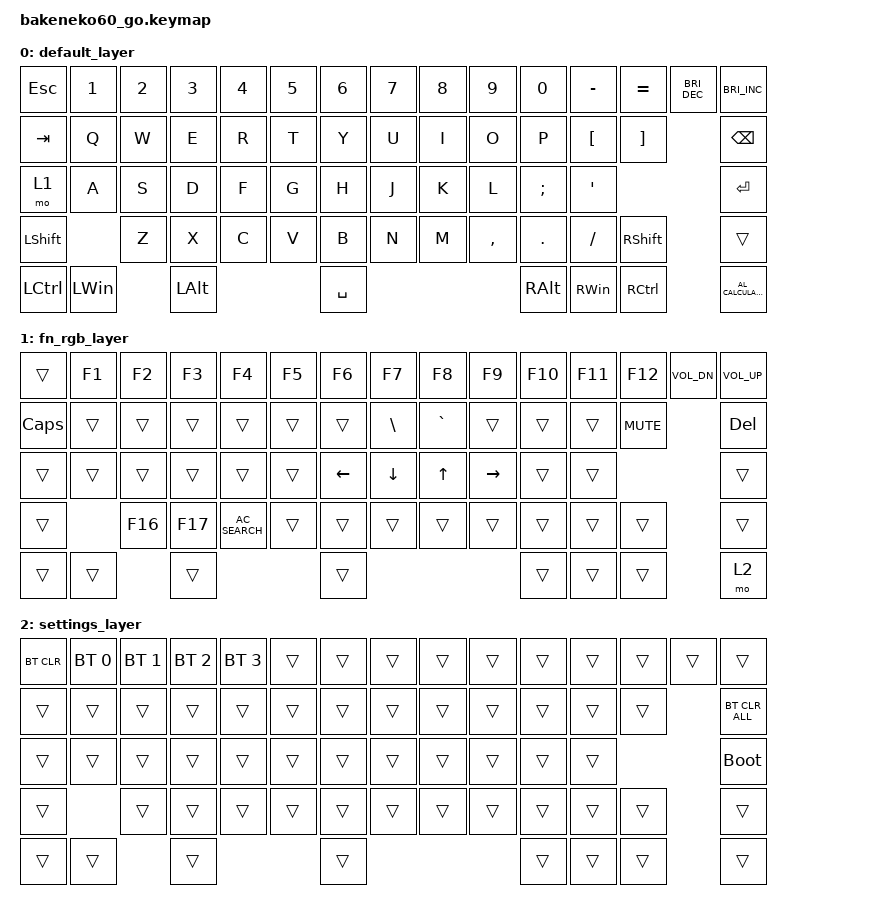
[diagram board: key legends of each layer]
/*
 * Copyright (c) 2023 Andrew Kannan
 *
 * SPDX-License-Identifier: MIT
 */

#include <behaviors.dtsi>
#include <dt-bindings/zmk/bt.h>
#include <dt-bindings/zmk/keys.h>

/ {
    keymap {
        compatible = "zmk,keymap";

        default_layer {
            // ------------------------------------------------------------------------------------------
            // | ESC |  1  |  2  |  3  |  4  |  5  |  6  |  7  |  8  |  9  |  0  |  -  |  =  | BKSP|BKSP|
            // | TAB  |  Q  |  W  |  E  |  R  |  T  |  Y  |  U  |  I  |  O  |  P  |  [  |  ]  |   "|"   |
            // | CAPS  |  A  |  S  |  D  |  F  |  G  |  H  |  J  |  K  |  L  |  ;  |  '  |     ENTER    |
            // |  SHIFT  |  Z  |  X  |  C  |  V  |  B  |  N  |  M  |  ,  |  .  |  /  |  SHIFT  | MO(1)  |
            // |  CTL  |  WIN  |  ALT  |            SPACE              |  ALT  |  WIN  |  MO(1) |  CTL  |
            // ------------------------------------------------------------------------------------------

            bindings = <
&kp ESCAPE        &kp N1        &kp N2  &kp N3        &kp N4  &kp N5  &kp N6     &kp N7  &kp N8  &kp N9     &kp N0         &kp MINUS      &kp EQUAL  &kp C_BRIGHTNESS_DEC  &kp C_BRIGHTNESS_INC
&kp TAB           &kp Q         &kp W   &kp E         &kp R   &kp T   &kp Y      &kp U   &kp I   &kp O      &kp P          &kp LBKT       &kp RBKT                         &kp BACKSPACE
&mo 1             &kp A         &kp S   &kp D         &kp F   &kp G   &kp H      &kp J   &kp K   &kp L      &kp SEMI       &kp SQT                                         &kp RET
&kp LSHFT                       &kp Z   &kp X         &kp C   &kp V   &kp B      &kp N   &kp M   &kp COMMA  &kp DOT        &kp FSLH       &kp RSHFT                        &trans
&kp LEFT_CONTROL  &kp LEFT_WIN          &kp LEFT_ALT                  &kp SPACE                             &kp RIGHT_ALT  &kp RIGHT_WIN  &kp RCTRL                        &kp C_AL_CALCULATOR
            >;
        };

        fn_rgb_layer {
            // ------------------------------------------------------------------------------------------------
            // |    `   | F1  | F2  | F3  | F4  | F5  | F6  | F7  | F8  | F9  | F10  | F11 | F12 |     | DEL  |
            // | EFCT REV|   |  UP |   | HUEUP | SATUP | BRIUP | SPDUP |      |  PGUP |    |     |    |       |
            // | EFCT FWD | LT |  DN  | RT | HUEDN | SATDN | BRIDN | SPDDN | HOME | PGDN | END  |  | BOOTLDR  |
            // |             |     |      |      |     |     |     |     |     |     |     |         |        |
            // |         |      |      |             TOG RGB                | PRT SCR |       |       |  MO(2)|
            // ------------------------------------------------------------------------------------------------

            bindings = <
&trans        &kp F1  &kp F2   &kp F3   &kp F4           &kp F5  &kp F6          &kp F7          &kp F8        &kp F9           &kp F10  &kp F11  &kp F12     &kp C_VOL_DN  &kp C_VOL_UP
&kp CAPSLOCK  &trans  &trans   &trans   &trans           &trans  &trans          &kp BACKSLASH   &kp GRAVE     &trans           &trans   &trans   &kp C_MUTE                &kp DELETE
&trans        &trans  &trans   &trans   &trans           &trans  &kp LEFT_ARROW  &kp DOWN_ARROW  &kp UP_ARROW  &kp RIGHT_ARROW  &trans   &trans                             &trans
&trans                &kp F16  &kp F17  &kp C_AC_SEARCH  &trans  &trans          &trans          &trans        &trans           &trans   &trans   &trans                    &trans
&trans        &trans           &trans                            &trans                                                         &trans   &trans   &trans                    &mo 2
            >;
        };

        settings_layer {
            bindings = <
&bt BT_CLR  &bt BT_SEL 0  &bt BT_SEL 1  &bt BT_SEL 2  &bt BT_SEL 3  &trans  &trans  &trans  &trans  &trans  &trans  &trans  &trans  &trans  &trans
&trans      &trans        &trans        &trans        &trans        &trans  &trans  &trans  &trans  &trans  &trans  &trans  &trans          &bt BT_CLR_ALL
&trans      &trans        &trans        &trans        &trans        &trans  &trans  &trans  &trans  &trans  &trans  &trans                  &bootloader
&trans                    &trans        &trans        &trans        &trans  &trans  &trans  &trans  &trans  &trans  &trans  &trans          &trans
&trans      &trans                      &trans                              &trans                          &trans  &trans  &trans          &trans
            >;
        };
    };

    combos { compatible = "zmk,combos"; };
};
